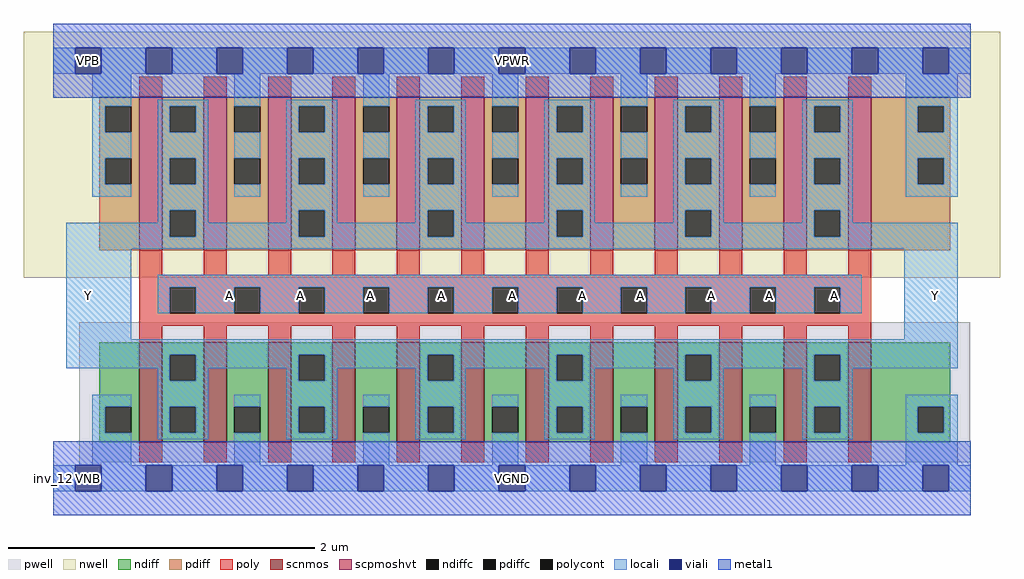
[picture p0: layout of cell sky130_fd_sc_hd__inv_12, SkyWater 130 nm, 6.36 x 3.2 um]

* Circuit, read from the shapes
.subckt sky130_fd_sc_hd__inv_12 A VGND VNB VPB VPWR Y
XM1 Y A VGND VNB sky130_fd_pr__nfet_01v8 w=0.65 l=0.15 m=12
XM2 Y A VPWR VPB sky130_fd_pr__pfet_01v8_hvt w=1 l=0.15 m=12
.ends

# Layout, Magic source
magic
tech sky130B
magscale 1 2
<< nwell >>
rect -38 261 1234 582
<< pwell >>
rect 34 21 1195 203
rect 34 17 63 21
rect 29 -17 63 17
<< scnmos >>
rect 112 47 142 177
rect 196 47 226 177
rect 280 47 310 177
rect 364 47 394 177
rect 448 47 478 177
rect 532 47 562 177
rect 616 47 646 177
rect 700 47 730 177
rect 784 47 814 177
rect 868 47 898 177
rect 952 47 982 177
rect 1036 47 1066 177
<< scpmoshvt >>
rect 112 297 142 497
rect 196 297 226 497
rect 280 297 310 497
rect 364 297 394 497
rect 448 297 478 497
rect 532 297 562 497
rect 616 297 646 497
rect 700 297 730 497
rect 784 297 814 497
rect 868 297 898 497
rect 952 297 982 497
rect 1036 297 1066 497
<< ndiff >>
rect 60 93 112 177
rect 60 59 68 93
rect 102 59 112 93
rect 60 47 112 59
rect 142 161 196 177
rect 142 127 152 161
rect 186 127 196 161
rect 142 93 196 127
rect 142 59 152 93
rect 186 59 196 93
rect 142 47 196 59
rect 226 93 280 177
rect 226 59 236 93
rect 270 59 280 93
rect 226 47 280 59
rect 310 161 364 177
rect 310 127 320 161
rect 354 127 364 161
rect 310 93 364 127
rect 310 59 320 93
rect 354 59 364 93
rect 310 47 364 59
rect 394 93 448 177
rect 394 59 404 93
rect 438 59 448 93
rect 394 47 448 59
rect 478 161 532 177
rect 478 127 488 161
rect 522 127 532 161
rect 478 93 532 127
rect 478 59 488 93
rect 522 59 532 93
rect 478 47 532 59
rect 562 93 616 177
rect 562 59 572 93
rect 606 59 616 93
rect 562 47 616 59
rect 646 161 700 177
rect 646 127 656 161
rect 690 127 700 161
rect 646 93 700 127
rect 646 59 656 93
rect 690 59 700 93
rect 646 47 700 59
rect 730 93 784 177
rect 730 59 740 93
rect 774 59 784 93
rect 730 47 784 59
rect 814 161 868 177
rect 814 127 824 161
rect 858 127 868 161
rect 814 93 868 127
rect 814 59 824 93
rect 858 59 868 93
rect 814 47 868 59
rect 898 93 952 177
rect 898 59 908 93
rect 942 59 952 93
rect 898 47 952 59
rect 982 161 1036 177
rect 982 127 992 161
rect 1026 127 1036 161
rect 982 93 1036 127
rect 982 59 992 93
rect 1026 59 1036 93
rect 982 47 1036 59
rect 1066 93 1169 177
rect 1066 59 1127 93
rect 1161 59 1169 93
rect 1066 47 1169 59
<< pdiff >>
rect 60 485 112 497
rect 60 451 68 485
rect 102 451 112 485
rect 60 417 112 451
rect 60 383 68 417
rect 102 383 112 417
rect 60 297 112 383
rect 142 485 196 497
rect 142 451 152 485
rect 186 451 196 485
rect 142 417 196 451
rect 142 383 152 417
rect 186 383 196 417
rect 142 349 196 383
rect 142 315 152 349
rect 186 315 196 349
rect 142 297 196 315
rect 226 485 280 497
rect 226 451 236 485
rect 270 451 280 485
rect 226 417 280 451
rect 226 383 236 417
rect 270 383 280 417
rect 226 297 280 383
rect 310 485 364 497
rect 310 451 320 485
rect 354 451 364 485
rect 310 417 364 451
rect 310 383 320 417
rect 354 383 364 417
rect 310 349 364 383
rect 310 315 320 349
rect 354 315 364 349
rect 310 297 364 315
rect 394 485 448 497
rect 394 451 404 485
rect 438 451 448 485
rect 394 417 448 451
rect 394 383 404 417
rect 438 383 448 417
rect 394 297 448 383
rect 478 485 532 497
rect 478 451 488 485
rect 522 451 532 485
rect 478 417 532 451
rect 478 383 488 417
rect 522 383 532 417
rect 478 349 532 383
rect 478 315 488 349
rect 522 315 532 349
rect 478 297 532 315
rect 562 485 616 497
rect 562 451 572 485
rect 606 451 616 485
rect 562 417 616 451
rect 562 383 572 417
rect 606 383 616 417
rect 562 297 616 383
rect 646 485 700 497
rect 646 451 656 485
rect 690 451 700 485
rect 646 417 700 451
rect 646 383 656 417
rect 690 383 700 417
rect 646 349 700 383
rect 646 315 656 349
rect 690 315 700 349
rect 646 297 700 315
rect 730 485 784 497
rect 730 451 740 485
rect 774 451 784 485
rect 730 417 784 451
rect 730 383 740 417
rect 774 383 784 417
rect 730 297 784 383
rect 814 485 868 497
rect 814 451 824 485
rect 858 451 868 485
rect 814 417 868 451
rect 814 383 824 417
rect 858 383 868 417
rect 814 349 868 383
rect 814 315 824 349
rect 858 315 868 349
rect 814 297 868 315
rect 898 485 952 497
rect 898 451 908 485
rect 942 451 952 485
rect 898 417 952 451
rect 898 383 908 417
rect 942 383 952 417
rect 898 297 952 383
rect 982 485 1036 497
rect 982 451 992 485
rect 1026 451 1036 485
rect 982 417 1036 451
rect 982 383 992 417
rect 1026 383 1036 417
rect 982 349 1036 383
rect 982 315 992 349
rect 1026 315 1036 349
rect 982 297 1036 315
rect 1066 485 1169 497
rect 1066 451 1127 485
rect 1161 451 1169 485
rect 1066 417 1169 451
rect 1066 383 1127 417
rect 1161 383 1169 417
rect 1066 297 1169 383
<< ndiffc >>
rect 68 59 102 93
rect 152 127 186 161
rect 152 59 186 93
rect 236 59 270 93
rect 320 127 354 161
rect 320 59 354 93
rect 404 59 438 93
rect 488 127 522 161
rect 488 59 522 93
rect 572 59 606 93
rect 656 127 690 161
rect 656 59 690 93
rect 740 59 774 93
rect 824 127 858 161
rect 824 59 858 93
rect 908 59 942 93
rect 992 127 1026 161
rect 992 59 1026 93
rect 1127 59 1161 93
<< pdiffc >>
rect 68 451 102 485
rect 68 383 102 417
rect 152 451 186 485
rect 152 383 186 417
rect 152 315 186 349
rect 236 451 270 485
rect 236 383 270 417
rect 320 451 354 485
rect 320 383 354 417
rect 320 315 354 349
rect 404 451 438 485
rect 404 383 438 417
rect 488 451 522 485
rect 488 383 522 417
rect 488 315 522 349
rect 572 451 606 485
rect 572 383 606 417
rect 656 451 690 485
rect 656 383 690 417
rect 656 315 690 349
rect 740 451 774 485
rect 740 383 774 417
rect 824 451 858 485
rect 824 383 858 417
rect 824 315 858 349
rect 908 451 942 485
rect 908 383 942 417
rect 992 451 1026 485
rect 992 383 1026 417
rect 992 315 1026 349
rect 1127 451 1161 485
rect 1127 383 1161 417
<< poly >>
rect 112 497 142 523
rect 196 497 226 523
rect 280 497 310 523
rect 364 497 394 523
rect 448 497 478 523
rect 532 497 562 523
rect 616 497 646 523
rect 700 497 730 523
rect 784 497 814 523
rect 868 497 898 523
rect 952 497 982 523
rect 1036 497 1066 523
rect 112 265 142 297
rect 196 265 226 297
rect 280 265 310 297
rect 364 265 394 297
rect 448 265 478 297
rect 532 265 562 297
rect 616 265 646 297
rect 700 265 730 297
rect 784 265 814 297
rect 868 265 898 297
rect 952 265 982 297
rect 1036 265 1066 297
rect 112 249 1066 265
rect 112 215 152 249
rect 186 215 236 249
rect 270 215 320 249
rect 354 215 404 249
rect 438 215 488 249
rect 522 215 572 249
rect 606 215 656 249
rect 690 215 740 249
rect 774 215 824 249
rect 858 215 908 249
rect 942 215 992 249
rect 1026 215 1066 249
rect 112 199 1066 215
rect 112 177 142 199
rect 196 177 226 199
rect 280 177 310 199
rect 364 177 394 199
rect 448 177 478 199
rect 532 177 562 199
rect 616 177 646 199
rect 700 177 730 199
rect 784 177 814 199
rect 868 177 898 199
rect 952 177 982 199
rect 1036 177 1066 199
rect 112 21 142 47
rect 196 21 226 47
rect 280 21 310 47
rect 364 21 394 47
rect 448 21 478 47
rect 532 21 562 47
rect 616 21 646 47
rect 700 21 730 47
rect 784 21 814 47
rect 868 21 898 47
rect 952 21 982 47
rect 1036 21 1066 47
<< polycont >>
rect 152 215 186 249
rect 236 215 270 249
rect 320 215 354 249
rect 404 215 438 249
rect 488 215 522 249
rect 572 215 606 249
rect 656 215 690 249
rect 740 215 774 249
rect 824 215 858 249
rect 908 215 942 249
rect 992 215 1026 249
<< locali >>
rect 0 527 29 561
rect 63 527 121 561
rect 155 527 213 561
rect 247 527 305 561
rect 339 527 397 561
rect 431 527 489 561
rect 523 527 581 561
rect 615 527 673 561
rect 707 527 765 561
rect 799 527 857 561
rect 891 527 949 561
rect 983 527 1041 561
rect 1075 527 1133 561
rect 1167 527 1196 561
rect 51 485 102 527
rect 51 451 68 485
rect 51 417 102 451
rect 51 383 68 417
rect 51 367 102 383
rect 136 485 202 493
rect 136 451 152 485
rect 186 451 202 485
rect 136 417 202 451
rect 136 383 152 417
rect 186 383 202 417
rect 136 349 202 383
rect 236 485 270 527
rect 236 417 270 451
rect 236 367 270 383
rect 304 485 370 493
rect 304 451 320 485
rect 354 451 370 485
rect 304 417 370 451
rect 304 383 320 417
rect 354 383 370 417
rect 136 333 152 349
rect 17 315 152 333
rect 186 333 202 349
rect 304 349 370 383
rect 404 485 438 527
rect 404 417 438 451
rect 404 367 438 383
rect 472 485 538 493
rect 472 451 488 485
rect 522 451 538 485
rect 472 417 538 451
rect 472 383 488 417
rect 522 383 538 417
rect 304 333 320 349
rect 186 315 320 333
rect 354 333 370 349
rect 472 349 538 383
rect 572 485 606 527
rect 572 417 606 451
rect 572 367 606 383
rect 640 485 706 493
rect 640 451 656 485
rect 690 451 706 485
rect 640 417 706 451
rect 640 383 656 417
rect 690 383 706 417
rect 472 333 488 349
rect 354 315 488 333
rect 522 333 538 349
rect 640 349 706 383
rect 740 485 774 527
rect 740 417 774 451
rect 740 367 774 383
rect 808 485 874 493
rect 808 451 824 485
rect 858 451 874 485
rect 808 417 874 451
rect 808 383 824 417
rect 858 383 874 417
rect 640 333 656 349
rect 522 315 656 333
rect 690 333 706 349
rect 808 349 874 383
rect 908 485 942 527
rect 908 417 942 451
rect 908 367 942 383
rect 976 485 1042 493
rect 976 451 992 485
rect 1026 451 1042 485
rect 976 417 1042 451
rect 976 383 992 417
rect 1026 383 1042 417
rect 808 333 824 349
rect 690 315 824 333
rect 858 333 874 349
rect 976 349 1042 383
rect 1111 485 1179 527
rect 1111 451 1127 485
rect 1161 451 1179 485
rect 1111 417 1179 451
rect 1111 383 1127 417
rect 1161 383 1179 417
rect 1111 367 1179 383
rect 976 333 992 349
rect 858 315 992 333
rect 1026 333 1042 349
rect 1026 315 1179 333
rect 17 299 1179 315
rect 17 181 102 299
rect 136 249 1054 265
rect 136 215 152 249
rect 186 215 236 249
rect 270 215 320 249
rect 354 215 404 249
rect 438 215 488 249
rect 522 215 572 249
rect 606 215 656 249
rect 690 215 740 249
rect 774 215 824 249
rect 858 215 908 249
rect 942 215 992 249
rect 1026 215 1054 249
rect 1109 181 1179 299
rect 17 161 1179 181
rect 17 143 152 161
rect 136 127 152 143
rect 186 143 320 161
rect 186 127 202 143
rect 51 93 102 109
rect 51 59 68 93
rect 51 17 102 59
rect 136 93 202 127
rect 304 127 320 143
rect 354 143 488 161
rect 354 127 370 143
rect 136 59 152 93
rect 186 59 202 93
rect 136 51 202 59
rect 236 93 270 109
rect 236 17 270 59
rect 304 93 370 127
rect 472 127 488 143
rect 522 143 656 161
rect 522 127 538 143
rect 304 59 320 93
rect 354 59 370 93
rect 304 51 370 59
rect 404 93 438 109
rect 404 17 438 59
rect 472 93 538 127
rect 640 127 656 143
rect 690 143 824 161
rect 690 127 706 143
rect 472 59 488 93
rect 522 59 538 93
rect 472 51 538 59
rect 572 93 606 109
rect 572 17 606 59
rect 640 93 706 127
rect 808 127 824 143
rect 858 143 992 161
rect 858 127 874 143
rect 640 59 656 93
rect 690 59 706 93
rect 640 51 706 59
rect 740 93 774 109
rect 740 17 774 59
rect 808 93 874 127
rect 976 127 992 143
rect 1026 143 1179 161
rect 1026 127 1042 143
rect 808 59 824 93
rect 858 59 874 93
rect 808 51 874 59
rect 908 93 942 109
rect 908 17 942 59
rect 976 93 1042 127
rect 976 59 992 93
rect 1026 59 1042 93
rect 976 51 1042 59
rect 1111 93 1179 109
rect 1111 59 1127 93
rect 1161 59 1179 93
rect 1111 17 1179 59
rect 0 -17 29 17
rect 63 -17 121 17
rect 155 -17 213 17
rect 247 -17 305 17
rect 339 -17 397 17
rect 431 -17 489 17
rect 523 -17 581 17
rect 615 -17 673 17
rect 707 -17 765 17
rect 799 -17 857 17
rect 891 -17 949 17
rect 983 -17 1041 17
rect 1075 -17 1133 17
rect 1167 -17 1196 17
<< viali >>
rect 29 527 63 561
rect 121 527 155 561
rect 213 527 247 561
rect 305 527 339 561
rect 397 527 431 561
rect 489 527 523 561
rect 581 527 615 561
rect 673 527 707 561
rect 765 527 799 561
rect 857 527 891 561
rect 949 527 983 561
rect 1041 527 1075 561
rect 1133 527 1167 561
rect 29 -17 63 17
rect 121 -17 155 17
rect 213 -17 247 17
rect 305 -17 339 17
rect 397 -17 431 17
rect 489 -17 523 17
rect 581 -17 615 17
rect 673 -17 707 17
rect 765 -17 799 17
rect 857 -17 891 17
rect 949 -17 983 17
rect 1041 -17 1075 17
rect 1133 -17 1167 17
<< metal1 >>
rect 0 561 1196 592
rect 0 527 29 561
rect 63 527 121 561
rect 155 527 213 561
rect 247 527 305 561
rect 339 527 397 561
rect 431 527 489 561
rect 523 527 581 561
rect 615 527 673 561
rect 707 527 765 561
rect 799 527 857 561
rect 891 527 949 561
rect 983 527 1041 561
rect 1075 527 1133 561
rect 1167 527 1196 561
rect 0 496 1196 527
rect 0 17 1196 48
rect 0 -17 29 17
rect 63 -17 121 17
rect 155 -17 213 17
rect 247 -17 305 17
rect 339 -17 397 17
rect 431 -17 489 17
rect 523 -17 581 17
rect 615 -17 673 17
rect 707 -17 765 17
rect 799 -17 857 17
rect 891 -17 949 17
rect 983 -17 1041 17
rect 1075 -17 1133 17
rect 1167 -17 1196 17
rect 0 -48 1196 -17
<< labels >>
flabel locali s 213 221 247 255 0 FreeSans 250 0 0 0 A
port 1 nsew signal input
flabel locali s 305 221 339 255 0 FreeSans 250 0 0 0 A
port 1 nsew signal input
flabel locali s 397 221 431 255 0 FreeSans 250 0 0 0 A
port 1 nsew signal input
flabel locali s 489 221 523 255 0 FreeSans 250 0 0 0 A
port 1 nsew signal input
flabel locali s 581 221 615 255 0 FreeSans 250 0 0 0 A
port 1 nsew signal input
flabel locali s 673 221 707 255 0 FreeSans 250 0 0 0 A
port 1 nsew signal input
flabel locali s 1133 221 1167 255 0 FreeSans 250 0 0 0 Y
port 6 nsew signal output
flabel locali s 29 221 63 255 0 FreeSans 250 0 0 0 Y
port 6 nsew signal output
flabel locali s 749 221 783 255 0 FreeSans 250 0 0 0 A
port 1 nsew signal input
flabel locali s 841 221 875 255 0 FreeSans 250 0 0 0 A
port 1 nsew signal input
flabel locali s 917 221 951 255 0 FreeSans 250 0 0 0 A
port 1 nsew signal input
flabel locali s 1001 221 1035 255 0 FreeSans 250 0 0 0 A
port 1 nsew signal input
flabel pwell s 29 -17 63 17 0 FreeSans 200 0 0 0 VNB
port 3 nsew ground bidirectional
flabel nwell s 29 527 63 561 0 FreeSans 200 0 0 0 VPB
port 4 nsew power bidirectional
flabel metal1 s 29 -17 63 17 0 FreeSans 200 0 0 0 VGND
port 2 nsew ground bidirectional abutment
flabel metal1 s 29 527 63 561 0 FreeSans 200 0 0 0 VPWR
port 5 nsew power bidirectional abutment
rlabel comment s 0 0 0 0 4 inv_12
rlabel metal1 s 0 -48 1196 48 1 VGND
port 2 nsew ground bidirectional abutment
rlabel metal1 s 0 496 1196 592 1 VPWR
port 5 nsew power bidirectional abutment
<< properties >>
string FIXED_BBOX 0 0 1196 544
string GDS_END 2216302
string GDS_FILE $PDKPATH/libs.ref/sky130_fd_sc_hd/gds/sky130_fd_sc_hd.gds
string GDS_START 2205994
string LEFclass CORE
string LEFsite unithd
string LEFsymmetry X Y R90
string path 0.000 0.000 29.900 0.000 
<< end >>
